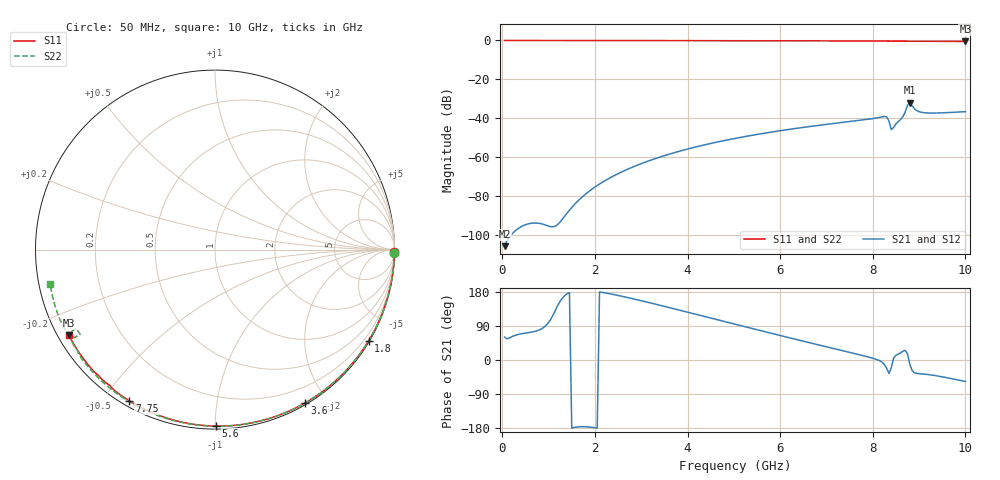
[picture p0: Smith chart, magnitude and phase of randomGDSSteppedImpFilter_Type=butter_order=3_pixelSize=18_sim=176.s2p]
! freq	dB(S11)	phase(S11)	dB(S12)	phase(S12)
!  dB(S21)	phase(S21)	dB(S22)	phase(S22)
!S-par simulation data
#  GHz  S  DB  R 50
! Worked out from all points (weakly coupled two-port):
!   200 points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, 50 MHz to 10 GHz, reference 50 ohm
!   highest |S21| = -31.99 dB at 8.8 GHz (marker M1); lowest = -105.5 dB at 50 MHz (marker M2)
!   lowest |S11| = -0.5 dB at 10 GHz (marker M3), VSWR 34.39, Z = 1.56 - j13.6 ohm
!   |S11| at or under -10 dB: nowhere
!   |S22| runs from -1.0 to 0.0 dB; largest |S21 - S12| = 0
!   S11 on the Smith chart (normalised r, x): 50 MHz: open; 1.8 GHz: 0.03, -3.65; 3.6 GHz: 0.02, -1.74; 5.6 GHz: 0.02, -1.00; 7.75 GHz: 0.02, -0.58; 10 GHz: 0.03, -0.27
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0.05  -0.00 -0.9  -105.50 60.4  -105.50 60.4  -0.00 -1.0
0.85  -0.02 -14.6  -94.06 82.5  -94.06 82.5  -0.02 -16.5
1.75  -0.04 -29.8  -79.74 -176.0  -79.74 -176.0  -0.04 -33.6
1.8  -0.04 -30.6  -78.75 -176.2  -78.75 -176.2  -0.04 -34.6
2.1  -0.05 -35.6  -73.61 179.6  -73.61 179.6  -0.05 -40.2
2.5  -0.05 -42.2  -68.32 170.4  -68.32 170.4  -0.06 -47.5
3.4  -0.08 -56.6  -59.83 144.6  -59.83 144.6  -0.08 -63.7
3.6  -0.08 -59.8  -58.35 138.5  -58.35 138.5  -0.09 -67.1
5.05  -0.13 -81.7  -50.13 93.7  -50.13 93.7  -0.14 -91.6
5.6  -0.15 -89.7  -47.79 76.8  -47.79 76.8  -0.17 -100.5
6.7  -0.20 -105.2  -43.94 43.6  -43.94 43.6  -0.23 -117.7
7.75  -0.28 -119.5  -40.89 12.7  -40.89 12.7  -0.31 -134.0
8.25  -0.33 -126.4  -38.96 -11.7  -38.96 -11.7  -0.38 -142.0
8.3  -0.35 -127.1  -39.14 -21.9  -39.14 -21.9  -0.40 -142.9
8.35  -0.38 -127.6  -41.42 -35.4  -41.42 -35.4  -0.44 -143.6
8.4  -0.38 -128.1  -45.72 -19.9  -45.72 -19.9  -0.44 -144.2
8.65  -0.37 -131.5  -39.09 23.1  -39.09 23.1  -0.55 -149.1
8.75  -0.40 -132.7  -33.31 16.1  -33.31 16.1  -1.02 -150.4
8.8  -0.39 -133.3  -31.99 -10.8  -31.99 -10.8  -1.04 -147.8
8.9  -0.38 -134.7  -35.06 -33.7  -35.06 -33.7  -0.55 -149.2
9.05  -0.39 -136.8  -36.85 -36.6  -36.85 -36.6  -0.46 -152.5
10  -0.51 -149.6  -36.51 -56.7  -36.51 -56.7  -0.55 -168.3
